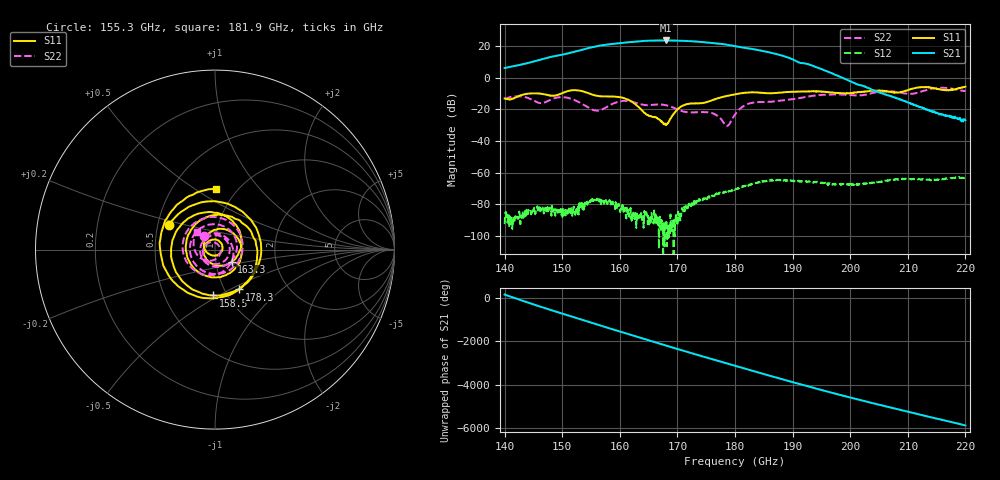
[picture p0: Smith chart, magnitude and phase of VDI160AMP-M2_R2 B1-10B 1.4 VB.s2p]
!Keysight Technologies,N5222B,MY56022597,A.18.40.03
!Date: Tuesday, March 31, 2026 11:09:31
!Correction: S11(C  2-Port  )
!S21(C  2-Port  )
!S12(C  2-Port  )
!S22(C  2-Port  )
!S2P File: Measurements: S11, S21, S12, S22:
# Hz S  RI  R 50
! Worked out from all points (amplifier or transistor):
!   1201 points, 140 GHz to 220 GHz, reference 50 ohm
!   highest |S21| = 23.6 dB at 168 GHz (marker M1)
!   |S21| within 3 dB of that: 157 GHz to 179.1 GHz (22.06 GHz wide, 13.1 % of centre)
!   unconditionally stable (mu >= 1): start of sweep to end of sweep
!   at 153.3 GHz: K = 636.41, MAG = 18.3 dB, |S12| = -81.2 dB
!   at 180 GHz: K = 155.60, MAG = 20.4 dB, |S12| = -70.7 dB
!   at 220 GHz: K = 9589.54, MAG = -24.7 dB, |S12| = -63.0 dB
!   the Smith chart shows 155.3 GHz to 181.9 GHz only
!   S11 on the Smith chart (normalised r, x): 155.3 GHz: 0.57, +0.17; 158.5 GHz: 0.86, -0.47; 163.3 GHz: 1.19, -0.17; 178.3 GHz: 1.17, -0.56; 181.9 GHz: 0.81, +0.62
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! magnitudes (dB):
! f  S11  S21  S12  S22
! 140 GHz  -13.1  6.1  -92.6  -13.3
! 142.9 GHz  -11.0  8.4  -87.5  -11.8
! 146.4 GHz  -10.2  11.6  -83.1  -16.1
! 150.2 GHz  -9.4  14.7  -85.0  -12.3
! 153.4 GHz  -8.4  17.6  -79.1  -16.3
! 155.3 GHz  -10.8  19.3  -77.4  -20.2
! 158.5 GHz  -11.9  21.3  -81.5  -16.8
! 161.2 GHz  -13.5  22.3  -82.1  -14.6
! 163.3 GHz  -18.7  23.1  -88.0  -16.4
! 166.7 GHz  -26.1  23.6  -88.8  -16.8
! 168 GHz  -29.9  23.6  -90.8  -17.3
! 171 GHz  -17.5  23.3  -83.8  -21.3
! 176.1 GHz  -14.1  22.0  -74.4  -22.4
! 178.3 GHz  -11.7  21.0  -71.8  -30.0
! 180 GHz  -10.5  20.0  -70.7  -23.3
! 181.9 GHz  -9.4  18.8  -68.7  -17.0
! 186.1 GHz  -9.8  15.9  -64.8  -15.2
! 193.4 GHz  -8.6  7.6  -65.6  -11.5
! 200.5 GHz  -9.5  -3.0  -67.6  -11.1
! 206.7 GHz  -8.8  -11.2  -64.9  -8.6
! 215.9 GHz  -7.6  -23.0  -64.2  -6.4
! 220 GHz  -5.6  -26.8  -63.0  -8.5
